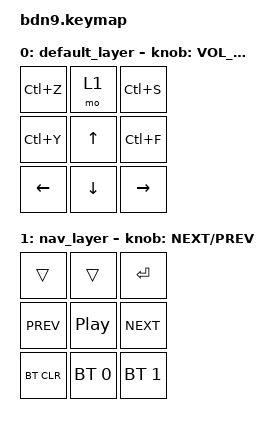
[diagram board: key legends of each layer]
#include <behaviors.dtsi>
#include <dt-bindings/zmk/bt.h>
#include <dt-bindings/zmk/keys.h>
#include <dt-bindings/zmk/outputs.h>
#include <dt-bindings/zmk/ext_power.h>

/ {
    keymap {
        compatible = "zmk,keymap";
        
        default_layer {

            bindings = <
    &kp LC(Z) &mo 1  &kp LC(S)
    &kp LC(Y) &kp UP &kp LC(F)
    &kp LEFT &kp DOWN &kp RIGHT
            >;

            sensor-bindings = <&inc_dec_kp C_VOL_UP C_VOL_DN>;
        };

         nav_layer {

             bindings = <
     &trans     &trans         &kp ENTER
     &kp C_PREV &kp C_PP       &kp C_NEXT
     &bt BT_CLR &bt BT_SEL 0   &bt BT_SEL 1
             >;

             sensor-bindings = <&inc_dec_kp C_NEXT C_PREV>;
         };
    };
};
